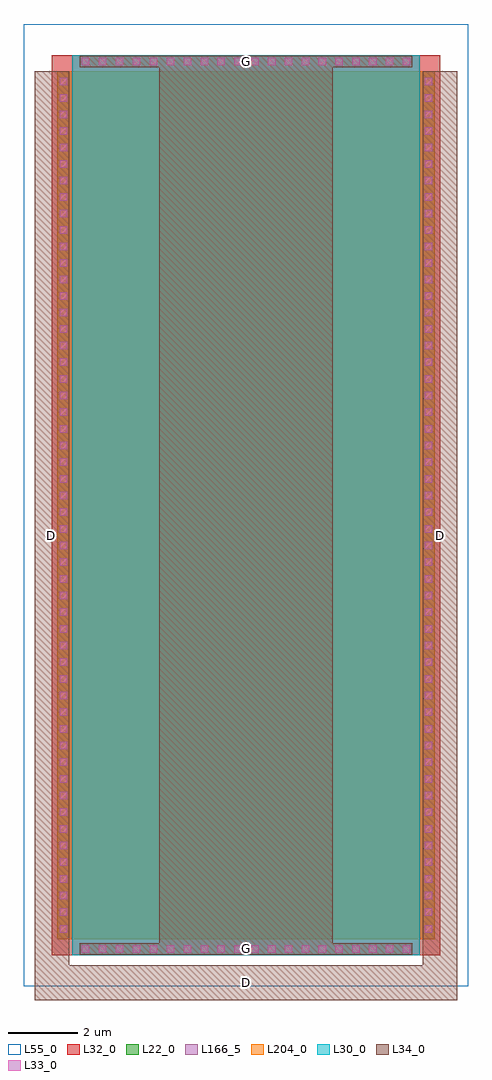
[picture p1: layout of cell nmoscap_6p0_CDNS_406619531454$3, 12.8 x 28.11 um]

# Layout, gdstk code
import gdstk
lib = gdstk.Library(unit=1e-6, precision=1e-09)
def R(c, l, rs):  # rectangles x0, y0, x1, y1
    for r in rs: c.add(gdstk.rectangle(r[:2], r[2:], *l))
def A(c, l, x, y, w, h, nx, ny, dx, dy):  # array of equal rectangles
    R(c, l, [(x+i*dx, y+j*dy, x+i*dx+w, y+j*dy+h) for i in range(nx) for j in range(ny)])
L22_0 = (22, 0)
L30_0 = (30, 0)
L32_0 = (32, 0)
L33_0 = (33, 0)
L34_0 = (34, 0)
L55_0 = (55, 0)
L166_5 = (166, 5)
L204_0 = (204, 0)

nmoscap_6p0_cdns_4066195 = lib.new_cell('nmoscap_6p0_CDNS_406619531454$3')
R(nmoscap_6p0_cdns_4066195, L22_0, [(-0.44,0,10.44,25)])
R(nmoscap_6p0_cdns_4066195, L30_0, [(0,-0.46,10,25.46)])
R(nmoscap_6p0_cdns_4066195, L32_0, [(-0.6,-0.46,10.6,25.46)])
A(nmoscap_6p0_cdns_4066195, L33_0, 0.27, -0.39, 0.22, 0.22, 6, 2, 0.49, 25.56)
A(nmoscap_6p0_cdns_4066195, L33_0, 3.205, -0.39, 0.22, 0.22, 14, 2, 0.485, 25.56)
A(nmoscap_6p0_cdns_4066195, L33_0, -0.37, 0.19, 0.22, 0.22, 1, 36, 0, 0.48)
A(nmoscap_6p0_cdns_4066195, L33_0, 10.15, 0.19, 0.22, 0.22, 1, 36, 0, 0.48)
A(nmoscap_6p0_cdns_4066195, L33_0, -0.37, 17.465, 0.22, 0.22, 1, 16, 0, 0.475)
A(nmoscap_6p0_cdns_4066195, L33_0, 10.15, 17.465, 0.22, 0.22, 1, 16, 0, 0.475)
R(nmoscap_6p0_cdns_4066195, L34_0, [(-1.09,-1.75,-0.09,25), (-1.09,-1.75,11.09,-0.75), (10.09,-1.75,11.09,25), (0.21,-0.45,9.79,-0.11), (2.5,-0.17,7.5,25.17), (-0.43,0,-0.09,25), (10.09,0,10.43,25), (0.21,25.11,9.79,25.45)])
R(nmoscap_6p0_cdns_4066195, L55_0, [(-1.4,-1.36,11.4,26.36)])
R(nmoscap_6p0_cdns_4066195, L166_5, [(-0.44,0,10.44,25)])
R(nmoscap_6p0_cdns_4066195, L204_0, [(-0.44,0,10.44,25)])
nmoscap_6p0_cdns_4066195.add(gdstk.Label('G', (5,-0.28), layer=34, texttype=0))
nmoscap_6p0_cdns_4066195.add(gdstk.Label('G', (5,25.28), layer=34, texttype=0))
nmoscap_6p0_cdns_4066195.add(gdstk.Label('D', (-0.59,11.625), layer=34, texttype=0))
nmoscap_6p0_cdns_4066195.add(gdstk.Label('D', (10.59,11.625), layer=34, texttype=0))
nmoscap_6p0_cdns_4066195.add(gdstk.Label('D', (5,-1.25), layer=34, texttype=0))

lib.write_gds('nmoscap_6p0_CDNS_406619531454_3.gds')
